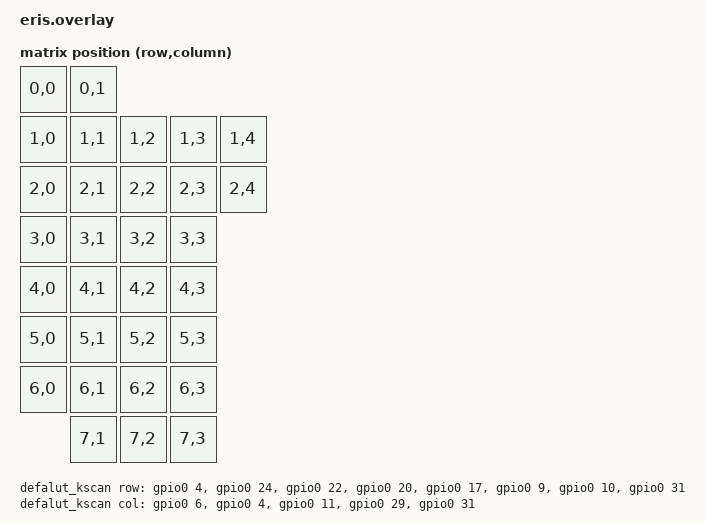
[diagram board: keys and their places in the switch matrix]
#include <dt-bindings/zmk/matrix_transform.h>

/ {
    chosen {
        zmk,kscan = &default_kscan;
        zmk,matrix_transform = &default_transform;
    };

    defalut_kscan: kscan {
        compatible = "zmk,kscan-gpio-matrix";
        label = "default_kscan";
        diode-direction = "col2row";

        row-gpios = <&gpio0 4  (GPIO_ACTIVE_HIGH | GPIO_PULL_DOWN)>,   // P0.04 = pin 100
                    <&gpio0 24 (GPIO_ACTIVE_HIGH | GPIO_PULL_DOWN)>,   // P0.24 = pin 024
                    <&gpio0 22 (GPIO_ACTIVE_HIGH | GPIO_PULL_DOWN)>,   // P0.22 = pin 022
                    <&gpio0 20 (GPIO_ACTIVE_HIGH | GPIO_PULL_DOWN)>,   // P0.20 = pin 020
                    <&gpio0 17 (GPIO_ACTIVE_HIGH | GPIO_PULL_DOWN)>,   // P0.17 = pin 017
                    <&gpio0 9  (GPIO_ACTIVE_HIGH | GPIO_PULL_DOWN)>,   // P0.09 = pin 009
                    <&gpio0 10 (GPIO_ACTIVE_HIGH | GPIO_PULL_DOWN)>,   // P0.10 = pin 010
                    <&gpio0 31 (GPIO_ACTIVE_HIGH | GPIO_PULL_DOWN)>;   // P0.31 = pin 111

        col-gpios = <&gpio0 6  GPIO_ACTIVE_HIGH>,  // P0.06 = pin 106
                    <&gpio0 4  GPIO_ACTIVE_HIGH>,  // P0.04 = pin 104
                    <&gpio0 11 GPIO_ACTIVE_HIGH>,  // P0.11 = pin 011
                    <&gpio0 29 GPIO_ACTIVE_HIGH>,  // P0.29 = pin 029
                    <&gpio0 31 GPIO_ACTIVE_HIGH>;  // P0.31 = pin 031
    };

    default_transform: matrix_transform {
        compatible = "zmk,matrix-transform";
        rows = <8>;
        columns = <5>;

        map = <
            RC(0,0) RC(0,1)                          // Row 0
            RC(1,0) RC(1,1) RC(1,2) RC(1,3) RC(1,4)  // Row 1
            RC(2,0) RC(2,1) RC(2,2) RC(2,3) RC(2,4)  // Row 2
            RC(3,0) RC(3,1) RC(3,2) RC(3,3)          // Row 3
            RC(4,0) RC(4,1) RC(4,2) RC(4,3)          // Row 4
            RC(5,0) RC(5,1) RC(5,2) RC(5,3)          // Row 5
            RC(6,0) RC(6,1) RC(6,2) RC(6,3)          // Row 6
                   RC(7,1) RC(7,2) RC(7,3)           // Row 7
        >;
    };
}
